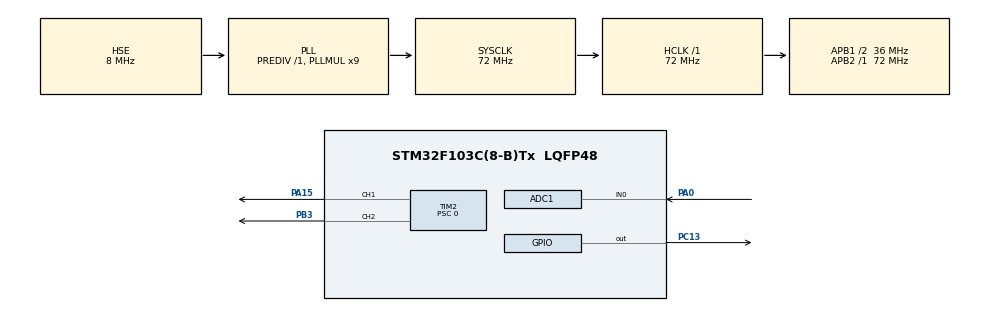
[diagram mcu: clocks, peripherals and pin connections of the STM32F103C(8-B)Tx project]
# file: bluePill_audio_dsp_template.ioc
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ADC1.Channel-1\#ChannelRegularConversion=ADC_CHANNEL_0
ADC1.ExternalTrigConv=ADC_EXTERNALTRIGCONV_T3_TRGO
ADC1.NbrOfConversionFlag=1
ADC1.Rank-1\#ChannelRegularConversion=1
ADC1.SamplingTime-1\#ChannelRegularConversion=ADC_SAMPLETIME_71CYCLES_5
ADC1.master=1
Dma.ADC1.0.Direction=DMA_PERIPH_TO_MEMORY
Dma.ADC1.0.Instance=DMA1_Channel1
Dma.ADC1.0.MemDataAlignment=DMA_MDATAALIGN_HALFWORD
Dma.ADC1.0.MemInc=DMA_MINC_ENABLE
Dma.ADC1.0.Mode=DMA_CIRCULAR
Dma.ADC1.0.PeriphDataAlignment=DMA_PDATAALIGN_HALFWORD
Dma.ADC1.0.PeriphInc=DMA_PINC_DISABLE
Dma.ADC1.0.Priority=DMA_PRIORITY_LOW
Dma.Request0=ADC1
Mcu.Family=STM32F1
Mcu.Name=STM32F103C(8-B)Tx
Mcu.Package=LQFP48
NVIC.DMA1_Channel1_IRQn=true\:1\:0\:true\:false\:true\:false\:true\:true
NVIC.PriorityGroup=NVIC_PRIORITYGROUP_4
NVIC.TIM3_IRQn=true\:14\:0\:true\:false\:true\:true\:true\:true
PA0-WKUP.Signal=ADCx_IN0
PA13.Mode=Serial_Wire
PA13.Signal=SYS_JTMS-SWDIO
PA14.Mode=Serial_Wire
PA14.Signal=SYS_JTCK-SWCLK
PA15.Signal=S_TIM2_CH1_ETR
PB3.Signal=S_TIM2_CH2
PC13-TAMPER-RTC.Signal=GPIO_Output
PC14-OSC32_IN.Mode=LSE-External-Oscillator
PC14-OSC32_IN.Signal=RCC_OSC32_IN
PC15-OSC32_OUT.Mode=LSE-External-Oscillator
PC15-OSC32_OUT.Signal=RCC_OSC32_OUT
PD0-OSC_IN.Mode=HSE-External-Oscillator
PD0-OSC_IN.Signal=RCC_OSC_IN
PD1-OSC_OUT.Mode=HSE-External-Oscillator
PD1-OSC_OUT.Signal=RCC_OSC_OUT
ProjectManager.HeapSize=0x200
ProjectManager.StackSize=0x400
ProjectManager.TargetToolchain=STM32CubeIDE
RCC.ADCPresc=RCC_ADCPCLK2_DIV6
RCC.AHBFreq_Value=72000000
RCC.APB1CLKDivider=RCC_HCLK_DIV2
RCC.APB1Freq_Value=36000000
RCC.APB1TimFreq_Value=72000000
RCC.APB2Freq_Value=72000000
RCC.APB2TimFreq_Value=72000000
RCC.HCLKFreq_Value=72000000
RCC.PLLMUL=RCC_PLL_MUL9
RCC.PLLSourceVirtual=RCC_PLLSOURCE_HSE
RCC.SYSCLKFreq_VALUE=72000000
RCC.SYSCLKSource=RCC_SYSCLKSOURCE_PLLCLK
RCC.USBFreq_Value=48000000
RCC.USBPrescaler=RCC_USBCLKSOURCE_PLL_DIV1_5
SH.ADCx_IN0.0=ADC1_IN0,IN0
SH.S_TIM2_CH1_ETR.0=TIM2_CH1,PWM Generation1 CH1
SH.S_TIM2_CH2.0=TIM2_CH2,PWM Generation2 CH2
STMicroelectronics.X-CUBE-ALGOBUILD.1.4.0.LibraryCcDSPOoLibraryJjDSPOoLibrary=true
TIM2.Channel-PWM\ Generation1\ CH1=TIM_CHANNEL_1
TIM2.Channel-PWM\ Generation2\ CH2=TIM_CHANNEL_2
TIM2.Period=63
TIM2.Prescaler=0
TIM2.Pulse-PWM\ Generation1\ CH1=0
TIM2.TIM_MasterOutputTrigger=TIM_TRGO_RESET
TIM3.Channel-PWM\ Generation1\ No\ Output=TIM_CHANNEL_1
TIM3.Period=2999
TIM3.Prescaler=0
TIM3.TIM_MasterOutputTrigger=TIM_TRGO_UPDATE
VP_STMicroelectronics.X-CUBE-ALGOBUILD_VS_DSPOoLibraryJjLibrary_1.4.0_1.4.0.Mode=DSPOoLibraryJjLibrary
VP_TIM2_VS_ClockSourceINT.Mode=Internal
VP_TIM3_VS_ClockSourceINT.Mode=Internal
VP_TIM3_VS_no_output1.Mode=PWM Generation1 No Output
board=custom

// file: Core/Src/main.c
/* USER CODE BEGIN Header */
/**
  ******************************************************************************
  * @file           : main.c
  * @brief          : Main program body
  ******************************************************************************
  * @attention
  *
  * Copyright (c) 2024 STMicroelectronics.
  * All rights reserved.
  *
  * This software is licensed under terms that can be found in the LICENSE file
  * in the root directory of this software component.
  * If no LICENSE file comes with this software, it is provided AS-IS.
  *
  ******************************************************************************
  */
/* USER CODE END Header */
#include "main.h"

/* USER CODE BEGIN Includes */

#include "arm_math.h"
#include <stdbool.h>

/* USER CODE END Includes */

/* USER CODE BEGIN PD */

#define BUFFER_SIZE 256

/* USER CODE END PD */

ADC_HandleTypeDef hadc1;
DMA_HandleTypeDef hdma_adc1;

TIM_HandleTypeDef htim2;
TIM_HandleTypeDef htim3;

/* USER CODE BEGIN PV */

uint16_t adc_buffer[BUFFER_SIZE];
uint16_t dac_buffer[BUFFER_SIZE];

uint16_t curr_sample_pos;

bool processLowerBuffer;
bool processUpperBuffer;

/* USER CODE END PV */

void SystemClock_Config(void);
static void MX_GPIO_Init(void);
static void MX_DMA_Init(void);
static void MX_ADC1_Init(void);
static void MX_TIM3_Init(void);
static void MX_TIM2_Init(void);

int main(void)
{

  /* USER CODE BEGIN 1 */

	//Clearing the buffers
	for(uint16_t i = 0; i < BUFFER_SIZE; i++)
	{
		adc_buffer[i] = 0;
		dac_buffer[i] = 0;
	}

	//Setting current position of the sample to begin of the buffer's lower half
	curr_sample_pos = BUFFER_SIZE / 2;

	//Resetting the flags for processing the two buffer halves
	processLowerBuffer = false;
	processUpperBuffer = false;

  /* USER CODE END 1 */

  /* MCU Configuration--------------------------------------------------------*/

  /* Reset of all peripherals, Initializes the Flash interface and the Systick. */
  HAL_Init();

  /* Configure the system clock */
  SystemClock_Config();

  /* Initialize all configured peripherals */
  MX_GPIO_Init();
  MX_DMA_Init();
  MX_ADC1_Init();
  MX_TIM3_Init();
  MX_TIM2_Init();
  /* USER CODE BEGIN 2 */

  //Turning off the on-board LED (inverted)
  HAL_GPIO_WritePin(GPIOC, GPIO_PIN_13, 1);

  //Starting ADC1 with DMA
  HAL_ADC_Start_DMA(&hadc1, (uint32_t*) adc_buffer, BUFFER_SIZE);

  //Starting TIM3 (triggering conversions and data transfer) with interrupts
  HAL_TIM_Base_Start_IT(&htim3);

  //Starting TIM2 (PWM generation)
  HAL_TIM_PWM_Start(&htim2, TIM_CHANNEL_1);
  HAL_TIM_PWM_Start(&htim2, TIM_CHANNEL_2);

  /* USER CODE END 2 */

  /* Infinite loop */
  /* USER CODE BEGIN WHILE */
  while (1)
  {
	//Processing the lower buffer if flag was set in the ISR
	if(processLowerBuffer == true)
	{
		for(uint16_t i = 0; i < BUFFER_SIZE / 2; i++)
		{
			//Only transferring the samples (passthrough)
			dac_buffer[i] = adc_buffer[i];
		}

		//Resetting the flag
		processLowerBuffer = false;
	}

	//Processing the upper buffer if flag was set in the ISR
	if(processUpperBuffer == true)
	{
		for(uint16_t i = BUFFER_SIZE / 2; i < BUFFER_SIZE; i++)
		{
			//Only transferring the samples (passthrough)
			dac_buffer[i] = adc_buffer[i];
		}

		//Resetting the flag
		processUpperBuffer = false;
	}
    /* USER CODE END WHILE */

  }
}

void SystemClock_Config(void)
{
  RCC_OscInitTypeDef RCC_OscInitStruct = {0};
  RCC_ClkInitTypeDef RCC_ClkInitStruct = {0};
  RCC_PeriphCLKInitTypeDef PeriphClkInit = {0};

  /** Initializes the RCC Oscillators according to the specified parameters
  * in the RCC_OscInitTypeDef structure.
  */
  RCC_OscInitStruct.OscillatorType = RCC_OSCILLATORTYPE_HSE;
  RCC_OscInitStruct.HSEState = RCC_HSE_ON;
  RCC_OscInitStruct.HSEPredivValue = RCC_HSE_PREDIV_DIV1;
  RCC_OscInitStruct.HSIState = RCC_HSI_ON;
  RCC_OscInitStruct.PLL.PLLState = RCC_PLL_ON;
  RCC_OscInitStruct.PLL.PLLSource = RCC_PLLSOURCE_HSE;
  RCC_OscInitStruct.PLL.PLLMUL = RCC_PLL_MUL9;
  if (HAL_RCC_OscConfig(&RCC_OscInitStruct) != HAL_OK)
  {
    Error_Handler();
  }

  /** Initializes the CPU, AHB and APB buses clocks
  */
  RCC_ClkInitStruct.ClockType = RCC_CLOCKTYPE_HCLK|RCC_CLOCKTYPE_SYSCLK
                              |RCC_CLOCKTYPE_PCLK1|RCC_CLOCKTYPE_PCLK2;
  RCC_ClkInitStruct.SYSCLKSource = RCC_SYSCLKSOURCE_PLLCLK;
  RCC_ClkInitStruct.AHBCLKDivider = RCC_SYSCLK_DIV1;
  RCC_ClkInitStruct.APB1CLKDivider = RCC_HCLK_DIV2;
  RCC_ClkInitStruct.APB2CLKDivider = RCC_HCLK_DIV1;

  if (HAL_RCC_ClockConfig(&RCC_ClkInitStruct, FLASH_LATENCY_2) != HAL_OK)
  {
    Error_Handler();
  }
  PeriphClkInit.PeriphClockSelection = RCC_PERIPHCLK_ADC;
  PeriphClkInit.AdcClockSelection = RCC_ADCPCLK2_DIV6;
  if (HAL_RCCEx_PeriphCLKConfig(&PeriphClkInit) != HAL_OK)
  {
    Error_Handler();
  }
}

static void MX_ADC1_Init(void)
{

  ADC_ChannelConfTypeDef sConfig = {0};

  /** Common config
  */
  hadc1.Instance = ADC1;
  hadc1.Init.ScanConvMode = ADC_SCAN_DISABLE;
  hadc1.Init.ContinuousConvMode = DISABLE;
  hadc1.Init.DiscontinuousConvMode = DISABLE;
  hadc1.Init.ExternalTrigConv = ADC_EXTERNALTRIGCONV_T3_TRGO;
  hadc1.Init.DataAlign = ADC_DATAALIGN_RIGHT;
  hadc1.Init.NbrOfConversion = 1;
  if (HAL_ADC_Init(&hadc1) != HAL_OK)
  {
    Error_Handler();
  }

  /** Configure Regular Channel
  */
  sConfig.Channel = ADC_CHANNEL_0;
  sConfig.Rank = ADC_REGULAR_RANK_1;
  sConfig.SamplingTime = ADC_SAMPLETIME_71CYCLES_5;
  if (HAL_ADC_ConfigChannel(&hadc1, &sConfig) != HAL_OK)
  {
    Error_Handler();
  }

}

static void MX_TIM2_Init(void)
{

  TIM_ClockConfigTypeDef sClockSourceConfig = {0};
  TIM_MasterConfigTypeDef sMasterConfig = {0};
  TIM_OC_InitTypeDef sConfigOC = {0};

  htim2.Instance = TIM2;
  htim2.Init.Prescaler = 0;
  htim2.Init.CounterMode = TIM_COUNTERMODE_UP;
  htim2.Init.Period = 63;
  htim2.Init.ClockDivision = TIM_CLOCKDIVISION_DIV1;
  htim2.Init.AutoReloadPreload = TIM_AUTORELOAD_PRELOAD_DISABLE;
  if (HAL_TIM_Base_Init(&htim2) != HAL_OK)
  {
    Error_Handler();
  }
  sClockSourceConfig.ClockSource = TIM_CLOCKSOURCE_INTERNAL;
  if (HAL_TIM_ConfigClockSource(&htim2, &sClockSourceConfig) != HAL_OK)
  {
    Error_Handler();
  }
  if (HAL_TIM_PWM_Init(&htim2) != HAL_OK)
  {
    Error_Handler();
  }
  sMasterConfig.MasterOutputTrigger = TIM_TRGO_RESET;
  sMasterConfig.MasterSlaveMode = TIM_MASTERSLAVEMODE_DISABLE;
  if (HAL_TIMEx_MasterConfigSynchronization(&htim2, &sMasterConfig) != HAL_OK)
  {
    Error_Handler();
  }
  sConfigOC.OCMode = TIM_OCMODE_PWM1;
  sConfigOC.Pulse = 0;
  sConfigOC.OCPolarity = TIM_OCPOLARITY_HIGH;
  sConfigOC.OCFastMode = TIM_OCFAST_DISABLE;
  if (HAL_TIM_PWM_ConfigChannel(&htim2, &sConfigOC, TIM_CHANNEL_1) != HAL_OK)
  {
    Error_Handler();
  }
  if (HAL_TIM_PWM_ConfigChannel(&htim2, &sConfigOC, TIM_CHANNEL_2) != HAL_OK)
  {
    Error_Handler();
  }
  HAL_TIM_MspPostInit(&htim2);

}

static void MX_TIM3_Init(void)
{

  TIM_ClockConfigTypeDef sClockSourceConfig = {0};
  TIM_MasterConfigTypeDef sMasterConfig = {0};
  TIM_OC_InitTypeDef sConfigOC = {0};

  htim3.Instance = TIM3;
  htim3.Init.Prescaler = 0;
  htim3.Init.CounterMode = TIM_COUNTERMODE_UP;
  htim3.Init.Period = 2999;
  htim3.Init.ClockDivision = TIM_CLOCKDIVISION_DIV1;
  htim3.Init.AutoReloadPreload = TIM_AUTORELOAD_PRELOAD_DISABLE;
  if (HAL_TIM_Base_Init(&htim3) != HAL_OK)
  {
    Error_Handler();
  }
  sClockSourceConfig.ClockSource = TIM_CLOCKSOURCE_INTERNAL;
  if (HAL_TIM_ConfigClockSource(&htim3, &sClockSourceConfig) != HAL_OK)
  {
    Error_Handler();
  }
  if (HAL_TIM_PWM_Init(&htim3) != HAL_OK)
  {
    Error_Handler();
  }
  sMasterConfig.MasterOutputTrigger = TIM_TRGO_UPDATE;
  sMasterConfig.MasterSlaveMode = TIM_MASTERSLAVEMODE_DISABLE;
  if (HAL_TIMEx_MasterConfigSynchronization(&htim3, &sMasterConfig) != HAL_OK)
  {
    Error_Handler();
  }
  sConfigOC.OCMode = TIM_OCMODE_PWM1;
  sConfigOC.Pulse = 0;
  sConfigOC.OCPolarity = TIM_OCPOLARITY_HIGH;
  sConfigOC.OCFastMode = TIM_OCFAST_DISABLE;
  if (HAL_TIM_PWM_ConfigChannel(&htim3, &sConfigOC, TIM_CHANNEL_1) != HAL_OK)
  {
    Error_Handler();
  }

}

static void MX_DMA_Init(void)
{

  /* DMA controller clock enable */
  __HAL_RCC_DMA1_CLK_ENABLE();

  /* DMA interrupt init */
  /* DMA1_Channel1_IRQn interrupt configuration */
  HAL_NVIC_SetPriority(DMA1_Channel1_IRQn, 1, 0);
  HAL_NVIC_EnableIRQ(DMA1_Channel1_IRQn);

}

static void MX_GPIO_Init(void)
{
  GPIO_InitTypeDef GPIO_InitStruct = {0};

  /* GPIO Ports Clock Enable */
  __HAL_RCC_GPIOC_CLK_ENABLE();
  __HAL_RCC_GPIOD_CLK_ENABLE();
  __HAL_RCC_GPIOA_CLK_ENABLE();
  __HAL_RCC_GPIOB_CLK_ENABLE();

  /*Configure GPIO pin Output Level */
  HAL_GPIO_WritePin(GPIOC, GPIO_PIN_13, GPIO_PIN_RESET);

  /*Configure GPIO pin : PC13 */
  GPIO_InitStruct.Pin = GPIO_PIN_13;
  GPIO_InitStruct.Mode = GPIO_MODE_OUTPUT_PP;
  GPIO_InitStruct.Pull = GPIO_NOPULL;
  GPIO_InitStruct.Speed = GPIO_SPEED_FREQ_LOW;
  HAL_GPIO_Init(GPIOC, &GPIO_InitStruct);

}

/* USER CODE BEGIN 4 */
void HAL_TIM_PeriodElapsedCallback(TIM_HandleTypeDef *htim)
{
	//Checking if the interrupt was caused by TIM3 (triggering conversions and data transfer)
	if (htim->Instance == TIM3)
	{
		//Incrementing the position of the current sample
		curr_sample_pos++;

		//Wrapping around if end of the buffer was reached
		if (curr_sample_pos >= BUFFER_SIZE)
		{
			curr_sample_pos = 0;
		}

		//Setting the output sample's upper six bits to CCR1 (channel 1) and the lower six bits to CCR2 (channel 2)
		htim2.Instance->CCR1 = (dac_buffer[curr_sample_pos] & 0xFC0) >> 6;
		htim2.Instance->CCR2 = dac_buffer[curr_sample_pos] & 0xF3;

		//Setting flag for processing the lower half of the ADC's buffer
		if (curr_sample_pos == BUFFER_SIZE / 2)
		{
			processLowerBuffer = true;
			return;
		}

		//Setting flag for processing the upper half of the ADC's buffer
		if (curr_sample_pos == BUFFER_SIZE - 1)
		{
			processUpperBuffer = true;
			return;
		}
	}
}
/* USER CODE END 4 */

void Error_Handler(void)
{
  __disable_irq();
  while (1)
  {
  }
}
